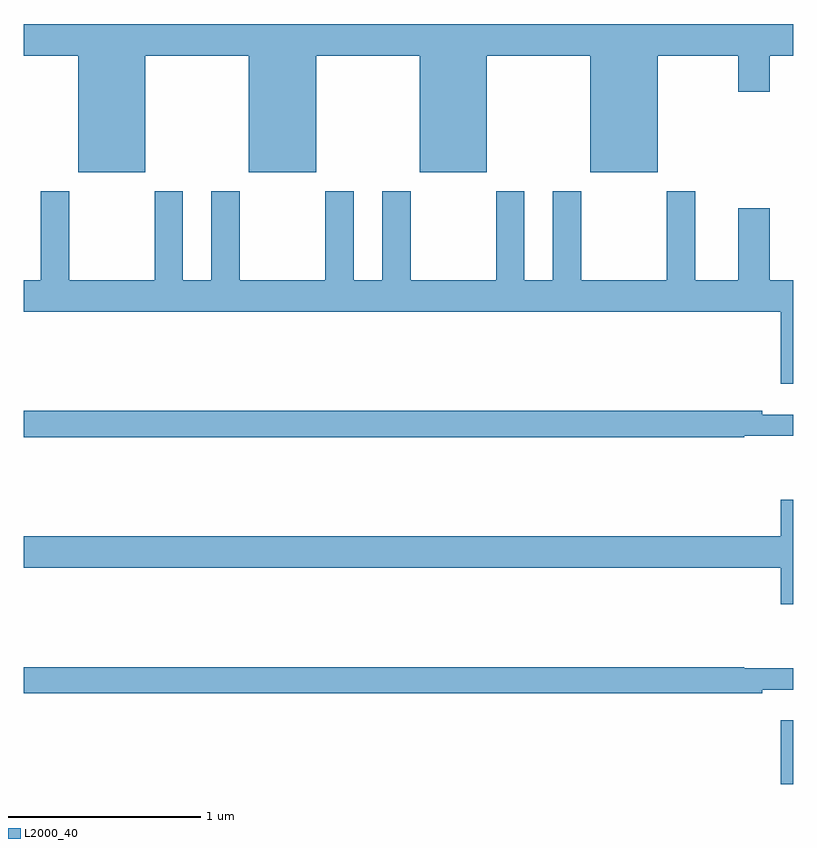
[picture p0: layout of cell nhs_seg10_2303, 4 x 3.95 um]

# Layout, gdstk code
import gdstk
lib = gdstk.Library(unit=1e-6, precision=1e-09)
def R(c, l, rs):  # rectangles x0, y0, x1, y1
    for r in rs: c.add(gdstk.rectangle(r[:2], r[2:], *l))
def P(c, l, *ps):  # polygons
    for p in ps: c.add(gdstk.Polygon(p, *l))
L2000_40 = (2000, 40)

nhs_seg10_2303 = lib.new_cell('nhs_seg10_2303')
R(nhs_seg10_2303, L2000_40, [(236.936,1324.5,237,1324.831)])
P(nhs_seg10_2303, L2000_40, [(233.632,1328.288),(234.17,1328.288),(234.17,1327.682),(234.52,1327.682),(234.52,1328.288),(235.058,1328.288),(235.058,1327.682),(235.408,1327.682),(235.408,1328.288),(235.946,1328.288),(235.946,1327.682),(236.296,1327.682),(236.296,1328.288),(236.714,1328.288),(236.714,1328.1),(236.878,1328.1),(236.878,1328.288),(237,1328.288),(237,1328.452),(233,1328.452),(233,1328.288),(233.282,1328.288),(233.282,1327.682),(233.632,1327.682)],
  [(234.863,1327.582),(234.863,1327.12),(234.715,1327.12),(234.715,1327.582),(234.568,1327.582),(234.568,1327.12),(234.123,1327.12),(234.123,1327.582),(233.975,1327.582),(233.975,1327.12),(233.827,1327.12),(233.827,1327.582),(233.68,1327.582),(233.68,1327.12),(233.235,1327.12),(233.235,1327.582),(233.087,1327.582),(233.087,1327.12),(233,1327.12),(233,1326.956),(236.936,1326.956),(236.936,1326.582),(237,1326.582),(237,1327.12),(236.878,1327.12),(236.878,1327.495),(236.714,1327.495),(236.714,1327.12),(236.491,1327.12),(236.491,1327.582),(236.344,1327.582),(236.344,1327.12),(235.899,1327.12),(235.899,1327.582),(235.751,1327.582),(235.751,1327.12),(235.603,1327.12),(235.603,1327.582),(235.456,1327.582),(235.456,1327.12),(235.011,1327.12),(235.011,1327.582)],
  [(236.745,1326.312),(237,1326.312),(237,1326.421),(236.84,1326.421),(236.84,1326.44),(233,1326.44),(233,1326.304),(236.745,1326.304)],
  [(237,1325.977),(236.936,1325.977),(236.936,1325.788),(233,1325.788),(233,1325.624),(236.936,1325.624),(236.936,1325.436),(237,1325.436)],
  [(236.84,1324.991),(237,1324.991),(237,1325.101),(236.745,1325.101),(236.745,1325.108),(233,1325.108),(233,1324.972),(236.84,1324.972)])

lib.write_gds('nhs_seg10_2303.gds')
